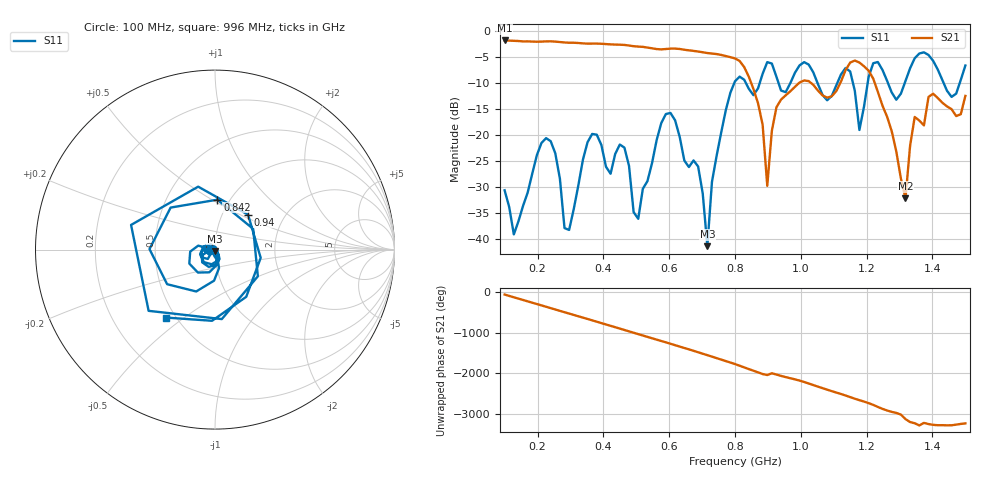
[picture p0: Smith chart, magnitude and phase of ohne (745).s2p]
! NanoVNA-App
! Date: 2025-09-25 14:26:36
! Start: 100MHz Stop: 1,5GHz Points: 101
! S-Parameter data: F S11 S21 S12 S22
# Hz S RI R 50
!  Frequency  S11_Real  S11_Imag  S21_Real  S21_Imag  S12_Real  S12_Imag  S22_Real  S22_Imag
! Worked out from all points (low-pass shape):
!   101 points, 100 MHz to 1.5 GHz, reference 50 ohm
!   highest |S21| = -1.79 dB at 100 MHz (marker M1); lowest = -32.2 dB at 1.318 GHz (marker M2)
!   |S21| within 3 dB of the highest: start of sweep to 771.8 MHz
!   lowest |S11| = -41.4 dB at 716 MHz (marker M3), VSWR 1.02, Z = 49.8 - j0.833 ohm
!   |S11| at or under -10 dB: start of sweep to 797.8 MHz; 833.1 MHz to 875 MHz (41.9 MHz wide, 4.91 % of centre); 1.051 GHz to 1.111 GHz (59.95 MHz wide, 5.55 % of centre) (the widest 3 of 7)
!   S12 and S22 are empty: the file has one direction only
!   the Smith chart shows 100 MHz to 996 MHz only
!   S11 on the Smith chart (normalised r, x): 100 MHz: 0.94, -0.01; 842 MHz: 0.88, +0.53; 940 MHz: 1.32, +0.55; 996 MHz: 0.44, -0.43
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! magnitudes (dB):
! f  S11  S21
! 100 MHz  -30.6  -1.8
! 128 MHz  -39.1  -1.9
! 226 MHz  -20.6  -2.0
! 296 MHz  -38.3  -2.2
! 338 MHz  -24.7  -2.4
! 464 MHz  -22.4  -2.7
! 506 MHz  -36.1  -3.0
! 576 MHz  -17.7  -3.5
! 688 MHz  -26.1  -3.9
! 716 MHz  -41.4  -4.2
! 800 MHz  -9.7  -5.3
! 842 MHz  -11.1  -8.8
! 898 MHz  -6.0  -29.8
! 940 MHz  -11.4  -13.2
! 996 MHz  -6.6  -9.9
! 1.038 GHz  -7.9  -10.3
! 1.178 GHz  -19.0  -6.0
! 1.22 GHz  -6.2  -9.1
! 1.276 GHz  -11.8  -19.2
! 1.318 GHz  -9.6  -32.2
! 1.346 GHz  -5.2  -16.5
! 1.5 GHz  -6.6  -12.5
